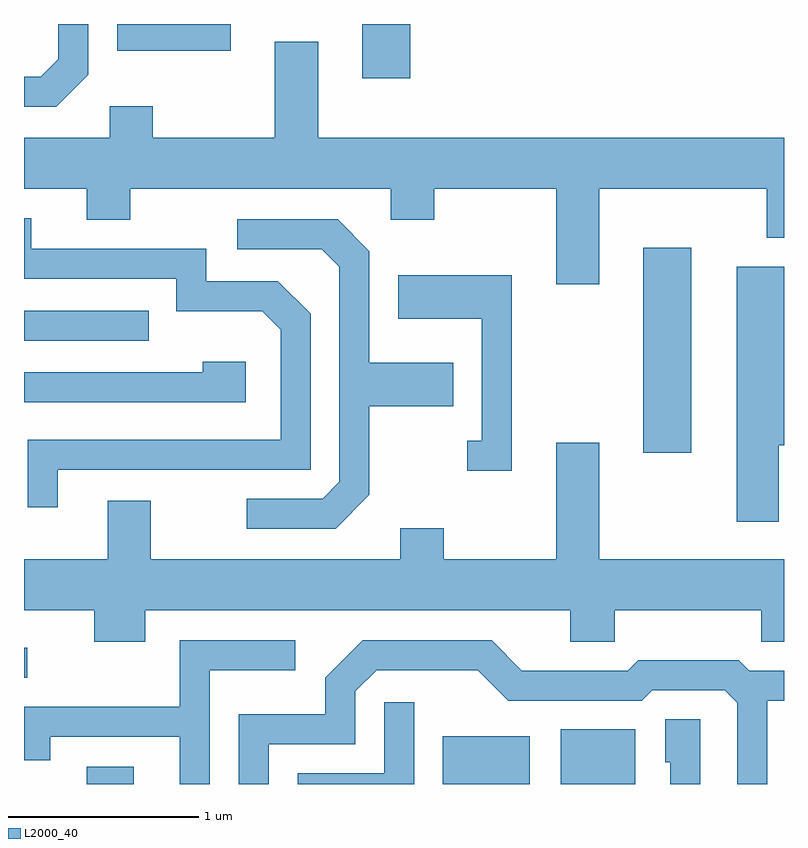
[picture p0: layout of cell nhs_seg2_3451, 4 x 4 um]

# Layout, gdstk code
import gdstk
lib = gdstk.Library(unit=1e-6, precision=1e-09)
def R(c, l, rs):  # rectangles x0, y0, x1, y1
    for r in rs: c.add(gdstk.rectangle(r[:2], r[2:], *l))
def P(c, l, *ps):  # polygons
    for p in ps: c.add(gdstk.Polygon(p, *l))
L2000_40 = (2000, 40)

nhs_seg2_3451 = lib.new_cell('nhs_seg2_3451')
R(nhs_seg2_3451, L2000_40, [(285.941,1091.802,286.189,1091.894), (287.816,1091.802,288.274,1092.054), (288.436,1091.802,288.829,1092.089), (285.611,1092.361,285.628,1092.519), (288.871,1093.546,289.124,1094.624), (285.611,1094.136,286.268,1094.294), (287.391,1095.516,287.644,1095.802), (286.101,1095.661,286.699,1095.802)])
P(nhs_seg2_3451, L2000_40, [(285.949,1095.534),(285.949,1095.802),(285.791,1095.802),(285.791,1095.617),(285.699,1095.524),(285.611,1095.524),(285.611,1095.366),(285.782,1095.366)],
  [(288.639,1094.936),(289.521,1094.936),(289.521,1094.676),(289.611,1094.676),(289.611,1095.204),(287.159,1095.204),(287.159,1095.709),(286.931,1095.709),(286.931,1095.204),(286.289,1095.204),(286.289,1095.369),(286.061,1095.369),(286.061,1095.204),(285.611,1095.204),(285.611,1094.936),(285.941,1094.936),(285.941,1094.771),(286.169,1094.771),(286.169,1094.936),(287.541,1094.936),(287.541,1094.771),(287.769,1094.771),(287.769,1094.936),(288.411,1094.936),(288.411,1094.431),(288.639,1094.431)],
  [(285.789,1093.456),(287.119,1093.456),(287.119,1094.277),(286.947,1094.449),(286.569,1094.449),(286.569,1094.619),(285.649,1094.619),(285.649,1094.779),(285.611,1094.779),(285.611,1094.461),(286.411,1094.461),(286.411,1094.291),(286.864,1094.291),(286.961,1094.194),(286.961,1093.614),(285.631,1093.614),(285.631,1093.258),(285.789,1093.258)],
  [(287.429,1093.324),(287.429,1093.791),(287.869,1093.791),(287.869,1094.019),(287.429,1094.019),(287.429,1094.607),(287.262,1094.774),(286.733,1094.774),(286.733,1094.616),(287.179,1094.616),(287.271,1094.524),(287.271,1093.392),(287.184,1093.304),(286.783,1093.304),(286.783,1093.146),(287.252,1093.146)],
  [(289.584,1093.586),(289.611,1093.586),(289.611,1094.524),(289.361,1094.524),(289.361,1093.181),(289.584,1093.181)],
  [(288.179,1094.479),(287.581,1094.479),(287.581,1094.251),(288.021,1094.251),(288.021,1093.609),(287.943,1093.609),(287.943,1093.451),(288.179,1093.451)],
  [(286.779,1094.024),(286.551,1094.024),(286.551,1093.969),(285.611,1093.969),(285.611,1093.811),(286.779,1093.811)],
  [(288.411,1093.599),(288.411,1092.984),(287.819,1092.984),(287.819,1093.149),(287.591,1093.149),(287.591,1092.984),(286.279,1092.984),(286.279,1093.294),(286.051,1093.294),(286.051,1092.984),(285.611,1092.984),(285.611,1092.716),(285.981,1092.716),(285.981,1092.551),(286.249,1092.551),(286.249,1092.716),(288.486,1092.716),(288.486,1092.551),(288.719,1092.551),(288.719,1092.716),(289.491,1092.716),(289.491,1092.551),(289.611,1092.551),(289.611,1092.984),(288.639,1092.984),(288.639,1093.599)],
  [(286.589,1092.401),(287.038,1092.401),(287.038,1092.559),(286.431,1092.559),(286.431,1092.209),(285.611,1092.209),(285.611,1091.926),(285.749,1091.926),(285.749,1092.051),(286.431,1092.051),(286.431,1091.802),(286.589,1091.802)],
  [(286.899,1092.011),(287.354,1092.011),(287.354,1092.289),(287.467,1092.401),(287.999,1092.401),(288.159,1092.241),(288.862,1092.241),(288.917,1092.296),(289.299,1092.296),(289.366,1092.229),(289.366,1091.802),(289.524,1091.802),(289.524,1092.241),(289.611,1092.241),(289.611,1092.399),(289.427,1092.399),(289.372,1092.454),(288.844,1092.454),(288.789,1092.399),(288.232,1092.399),(288.072,1092.559),(287.394,1092.559),(287.196,1092.362),(287.196,1092.169),(286.741,1092.169),(286.741,1091.802),(286.899,1091.802)],
  [(287.664,1092.233),(287.506,1092.233),(287.506,1091.859),(287.051,1091.859),(287.051,1091.802),(287.664,1091.802)],
  [(289.169,1092.144),(288.986,1092.144),(288.986,1091.916),(289.011,1091.916),(289.011,1091.802),(289.169,1091.802)])

lib.write_gds('nhs_seg2_3451.gds')
